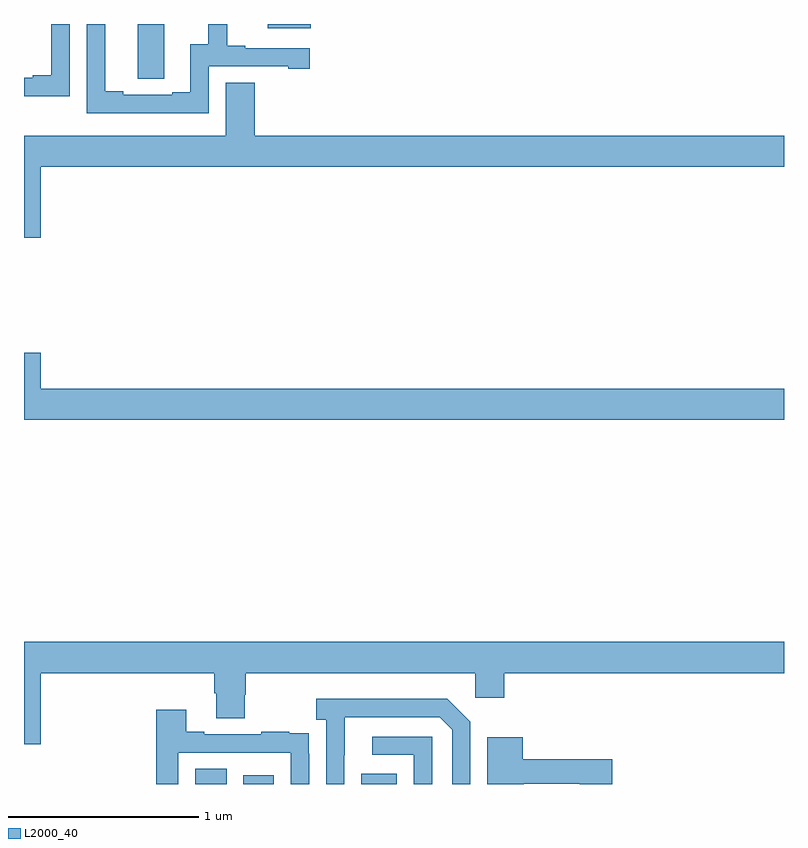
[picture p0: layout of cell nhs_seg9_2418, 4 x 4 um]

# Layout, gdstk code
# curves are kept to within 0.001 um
import gdstk
lib = gdstk.Library(unit=1e-6, precision=1e-09)
def R(c, l, rs):  # rectangles x0, y0, x1, y1
    for r in rs: c.add(gdstk.rectangle(r[:2], r[2:], *l))
def P(c, l, *ps):  # polygons
    for p in ps: c.add(gdstk.Polygon(p, *l))
L2000_40 = (2000, 40)

nhs_seg9_2418 = lib.new_cell('nhs_seg9_2418')
R(nhs_seg9_2418, L2000_40, [(249.902,1198.5,250.066,1198.58), (250.154,1198.5,250.315,1198.546), (250.775,1198.5,250.963,1198.555), (250.283,1202.477,250.51,1202.5)])
P(nhs_seg9_2418, L2000_40, [(249.738,1202.32),(249.739,1202.32),(249.739,1202.5),(249.599,1202.5),(249.599,1202.212),(249.738,1202.212)],
  [(249.24,1202.5),(249.143,1202.5),(249.143,1202.23),(249.047,1202.23),(249.047,1202.217),(249,1202.217),(249,1202.12),(249.24,1202.12)],
  [(249.972,1202.277),(250.391,1202.277),(250.391,1202.265),(250.504,1202.265),(250.504,1202.373),(250.165,1202.373),(250.165,1202.386),(250.07,1202.386),(250.07,1202.5),(249.97,1202.5),(249.97,1202.393),(249.875,1202.393),(249.875,1202.142),(249.779,1202.142),(249.779,1202.127),(249.523,1202.127),(249.523,1202.147),(249.427,1202.147),(249.427,1202.5),(249.33,1202.5),(249.33,1202.031),(249.972,1202.031)],
  [(249.088,1201.748),(253,1201.748),(253,1201.912),(250.214,1201.912),(250.214,1202.192),(250.061,1202.192),(250.061,1201.912),(249,1201.912),(249,1201.374),(249.088,1201.374)],
  [(253,1200.58),(249.088,1200.58),(249.088,1200.769),(249,1200.769),(249,1200.416),(253,1200.416)],
  [(249.088,1199.084),(250.001,1199.084),(250.001,1198.978),(250.013,1198.978),(250.013,1198.846),(250.161,1198.846),(250.161,1198.971),(250.166,1198.971),(250.166,1199.084),(251.376,1199.084),(251.376,1198.953),(251.528,1198.953),(251.528,1199.084),(253,1199.084),(253,1199.248),(249,1199.248),(249,1198.71),(249.088,1198.71)],
  [(250.686,1198.651),(250.687,1198.851),(251.187,1198.851),(251.253,1198.785),(251.253,1198.5),(251.349,1198.5),(251.349,1198.827),(251.228,1198.948),(250.539,1198.948),(250.539,1198.838),(250.59,1198.838),(250.59,1198.5),(250.686,1198.5)],
  [(249.813,1198.665),(250.404,1198.665),(250.404,1198.5),(250.5,1198.5),(250.5,1198.658),(250.499,1198.658),(250.499,1198.767),(250.397,1198.767),(250.397,1198.774),(250.249,1198.774),(250.249,1198.761),(249.949,1198.761),(249.949,1198.774),(249.853,1198.774),(249.853,1198.891),(249.697,1198.891),(249.697,1198.5),(249.813,1198.5)],
  [(251.148,1198.749),(250.833,1198.749),(250.833,1198.653),(251.052,1198.653),(251.052,1198.5),(251.148,1198.5)],
  [(251.63,1198.501),(251.924,1198.501),(251.924,1198.5),(252.095,1198.5),(252.095,1198.63),(251.626,1198.63),(251.626,1198.747),(251.438,1198.747),(251.438,1198.5),(251.63,1198.5)])

lib.write_gds('nhs_seg9_2418.gds')
